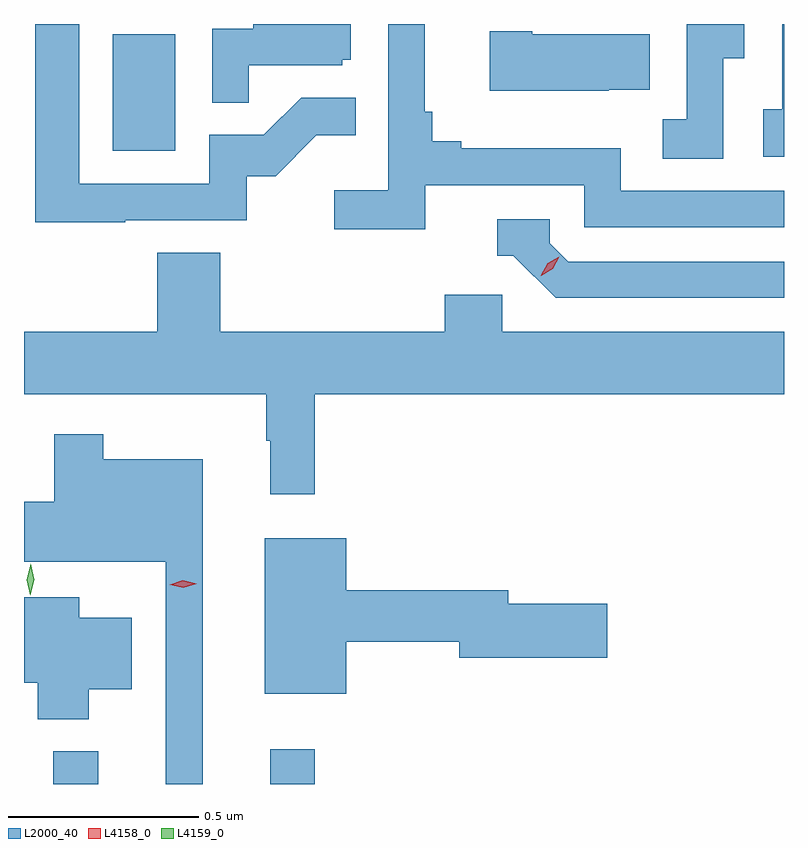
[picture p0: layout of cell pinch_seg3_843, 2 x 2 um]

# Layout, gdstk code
import gdstk
lib = gdstk.Library(unit=1e-6, precision=1e-09)
def R(c, l, rs):  # rectangles x0, y0, x1, y1
    for r in rs: c.add(gdstk.rectangle(r[:2], r[2:], *l))
def P(c, l, *ps):  # polygons
    for p in ps: c.add(gdstk.Polygon(p, *l))
L2000_40 = (2000, 40)
L4158_0 = (4158, 0)
L4159_0 = (4159, 0)

pinch_seg3_843 = lib.new_cell('pinch_seg3_843')
R(pinch_seg3_843, L2000_40, [(875.341,721.202,875.459,721.288), (875.912,721.202,876.029,721.294), (875.498,722.868,875.662,723.175)])
P(pinch_seg3_843, L2000_40, [(875.855,723.093),(876.102,723.093),(876.102,723.108),(876.124,723.108),(876.124,723.202),(875.867,723.202),(875.867,723.189),(875.76,723.189),(875.76,722.995),(875.855,722.995)],
  [(877.104,723.112),(877.159,723.112),(877.159,723.202),(877.008,723.202),(877.008,722.951),(876.945,722.951),(876.945,722.848),(877.104,722.848)],
  [(877.264,723.202),(877.26,723.202),(877.26,722.978),(877.209,722.978),(877.209,722.853),(877.264,722.853)],
  [(875.531,722.685),(875.85,722.685),(875.85,722.802),(875.926,722.802),(876.033,722.909),(876.137,722.909),(876.137,723.008),(875.993,723.008),(875.895,722.91),(875.751,722.91),(875.751,722.781),(875.409,722.781),(875.409,723.202),(875.293,723.202),(875.293,722.68),(875.531,722.68)],
  [(876.32,722.778),(876.738,722.778),(876.738,722.667),(877.264,722.667),(877.264,722.763),(876.834,722.763),(876.834,722.875),(876.415,722.875),(876.415,722.894),(876.338,722.894),(876.338,722.971),(876.319,722.971),(876.319,723.202),(876.222,723.202),(876.222,722.764),(876.081,722.764),(876.081,722.662),(876.32,722.662)],
  [(876.803,723.029),(876.911,723.029),(876.911,723.175),(876.601,723.175),(876.601,723.183),(876.489,723.183),(876.489,723.026),(876.803,723.026)],
  [(877.264,722.577),(876.696,722.577),(876.648,722.625),(876.648,722.688),(876.509,722.688),(876.509,722.592),(876.552,722.592),(876.663,722.481),(877.264,722.481)],
  [(876.029,722.228),(877.264,722.228),(877.264,722.392),(876.522,722.392),(876.522,722.49),(876.371,722.49),(876.371,722.392),(875.78,722.392),(875.78,722.6),(875.615,722.6),(875.615,722.392),(875.264,722.392),(875.264,722.228),(875.901,722.228),(875.901,722.105),(875.912,722.105),(875.912,721.965),(876.029,721.965)],
  [(875.734,722.056),(875.473,722.056),(875.473,722.122),(875.344,722.122),(875.344,721.945),(875.264,721.945),(875.264,721.787),(875.637,721.787),(875.637,721.202),(875.734,721.202)],
  [(876.112,721.576),(876.41,721.576),(876.41,721.534),(876.799,721.534),(876.799,721.676),(876.538,721.676),(876.538,721.712),(876.112,721.712),(876.112,721.849),(875.897,721.849),(875.897,721.439),(876.112,721.439)],
  [(875.434,721.451),(875.548,721.451),(875.548,721.639),(875.41,721.639),(875.41,721.693),(875.264,721.693),(875.264,721.469),(875.3,721.469),(875.3,721.373),(875.434,721.373)])
P(pinch_seg3_843, L4158_0, [(875.683,721.718),(875.647,721.726),(875.647,721.726),(875.647,721.727),(875.682,721.738),(875.718,721.729),(875.718,721.729),(875.718,721.729)],
  [(876.624,722.539),(876.624,722.54),(876.642,722.572),(876.673,722.59),(876.673,722.59),(876.673,722.59),(876.656,722.558),(876.625,722.539)])
P(pinch_seg3_843, L4159_0, [(875.28,721.699),(875.28,721.699),(875.271,721.74),(875.282,721.781),(875.282,721.781),(875.282,721.781),(875.291,721.74),(875.28,721.699)])

lib.write_gds('pinch_seg3_843.gds')
